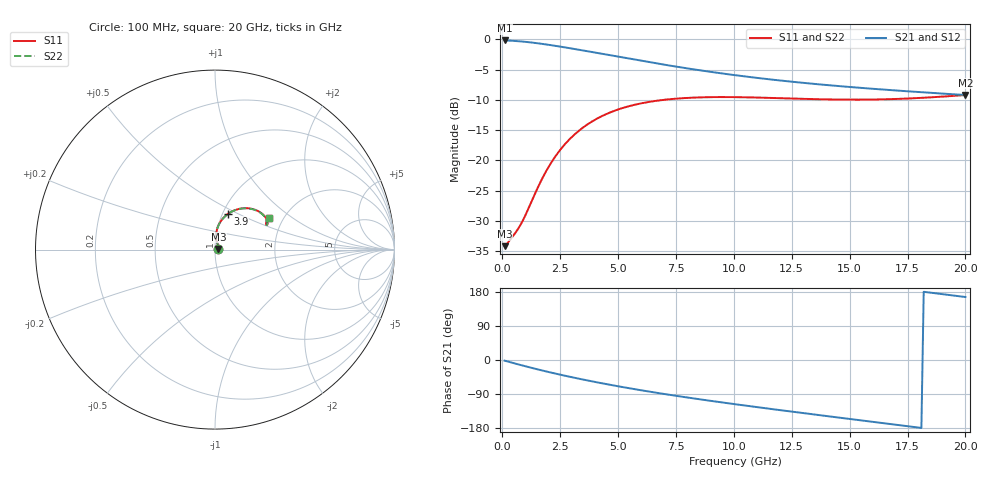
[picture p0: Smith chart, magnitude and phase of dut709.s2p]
! Touchstone file exported from HFSS 2024.1.0
!  File:  C:/UserFiles/LocalFiles/RDL_TSV_Batchsim/temp_RDL_TSV_709_1779887920.aedt
!  Generated:  09:32:02 PM May 27, 2026
!  Design:  RDL_TSV
!  Project:  temp_RDL_TSV_709_1779887920
!  Setup:  Setup1
!  Solution:  Sweep
! Variables:
!  dtsv = 8.09um
!  hbump = 3um
!  htsv = 79.52um
!  ldown = 195.57um
!  lrdl = 515.89um
!  p = 40
!  p1 = 55um
!  rhole = 10um
!  subl = 2650.27um
!  t = 450um
!  tdown = 4.4um
!  trdl = 2.16um
!  viad = 10um
!  wdown = 22.3um
!  wrdl = 20.78um
!  xbump = 18um
# GHz S MA R 50.000000
! Terminal data exported
! Port[1] = TM1_1_T1
! Port[2] = TM1_4_T1
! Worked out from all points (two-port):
!   200 points, 100 MHz to 20 GHz, reference 50 ohm
!   highest |S21| = -0.17 dB at 100 MHz (marker M1); lowest = -9.2 dB at 20 GHz (marker M2)
!   |S21| within 3 dB of the highest: start of sweep to 5.47 GHz
!   lowest |S11| = -34.2 dB at 100 MHz (marker M3), VSWR 1.04, Z = 52 + j0.345 ohm
!   |S11| at or under -10 dB: start of sweep to 6.946 GHz
!   |S22| runs from -34.2 to -9.2 dB; largest |S21 - S12| = 1.4e-14
!   S11 on the Smith chart (normalised r, x): 100 MHz: 1.04, +0.01; 3.9 GHz: 1.06, +0.44; 20 GHz: 1.69, +0.67
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0.1  0.01956 9.8  0.9804 -1.7  0.9804 -1.7  0.01956 9.8
! Gamma 0 0 0 0
! Port Impedance 50 0 50 0
0.5  0.02424 39.6  0.9727 -8.5  0.9727 -8.5  0.02425 39.6
0.8  0.02965 57.7  0.963 -13.4  0.963 -13.4  0.02965 57.6
1.3  0.04752 78.7  0.9412 -21.3  0.9412 -21.3  0.0475 78.6
1.7  0.06938 84.9  0.92 -27.3  0.92 -27.3  0.06932 84.8
2.2  0.1017 85.3  0.8906 -34.6  0.8906 -34.6  0.1016 85.2
2.8  0.1426 81.1  0.8535 -42.8  0.8535 -42.8  0.1424 81.0
3.5  0.1878 74.3  0.8097 -51.8  0.8097 -51.8  0.1875 74.2
3.9  0.2112 70.1  0.785 -56.7  0.785 -56.7  0.2107 70.1
4.5  0.2419 64.1  0.749 -63.7  0.749 -63.7  0.2414 64.0
5.2  0.2712 57.6  0.7089 -71.5  0.7089 -71.5  0.2705 57.5
6  0.2963 50.9  0.6662 -79.9  0.6662 -79.9  0.2955 50.9
6.8  0.3138 45.2  0.6272 -87.9  0.6272 -87.9  0.3129 45.1
7.6  0.3249 40.3  0.592 -95.4  0.592 -95.4  0.3239 40.3
8.4  0.3312 36.2  0.5606 -102.6  0.5606 -102.6  0.3301 36.2
10.1  0.3333 29.9  0.5049 -117.0  0.5049 -117.0  0.3321 29.9
11.7  0.3281 26.6  0.4642 -129.9  0.4642 -129.9  0.3268 26.6
13.4  0.3211 25.4  0.4301 -143.2  0.4301 -143.2  0.3198 25.4
15  0.3177 25.9  0.4045 -155.5  0.4045 -155.5  0.3165 26.0
16.7  0.3206 27.5  0.382 -168.6  0.382 -168.6  0.3195 27.6
18.3  0.3304 29.1  0.364 179.2  0.364 179.2  0.3293 29.3
20  0.3471 30.3  0.3472 166.2  0.3472 166.2  0.3462 30.5
